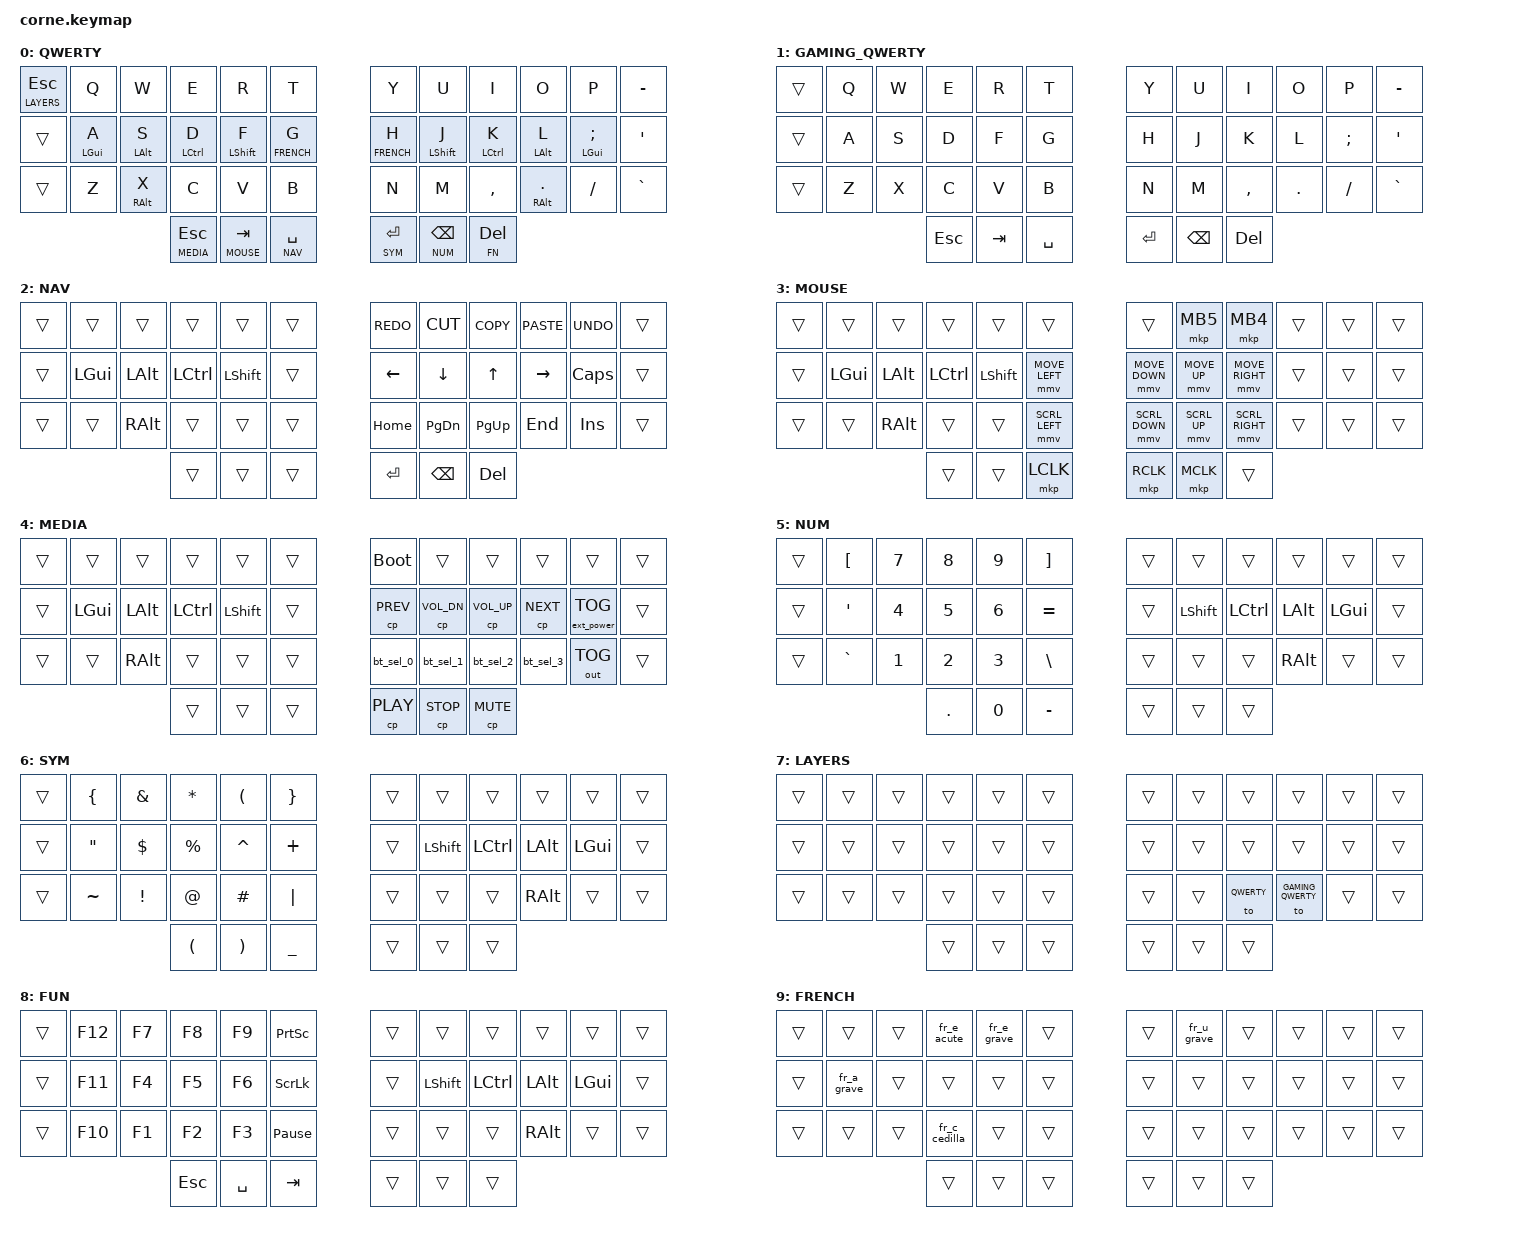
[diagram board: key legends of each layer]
#include <behaviors.dtsi>
#include <dt-bindings/zmk/keys.h>
#include <dt-bindings/zmk/bt.h>
#include <dt-bindings/zmk/ext_power.h>
#include <dt-bindings/zmk/outputs.h>
#include <dt-bindings/zmk/pointing.h>

#include "helpers/helper.h"

// Layer Definitions
#define QWERTY 0
#define GAMING_QWERTY 1
#define NAV 2
#define MOUSE 3
#define MEDIA 4
#define NUM 5
#define SYM 6
#define LAYERS 7
#define FN 8
#define FRENCH 9

// Behavior configuration

&mt {
    compatible = "zmk,behavior-hold-tap";
    tapping-term-ms = <220>;
    quick_tap_ms = <150>;
    flavor = "tap-preferred";
};

&lt {
    compatible = "zmk,behavior-hold-tap";
    tapping-term-ms = <220>;
    quick_tap_ms = <150>;
    flavor = "tap-preferred";
};

&sk {
    release-after-ms = <500>;
    quick-release;
};


// Keymap configuration
/ {
    behaviors {
        lls: layout_layers {
            compatible = "zmk,behavior-hold-tap";
            #binding-cells = <2>;
            tapping-term-ms = <500>;
            quick_tap_ms = <200>;
            bindings = <&mo>, <&kp>;
            flavor = "tap-preferred";
        };
    };

    keymap {
        compatible = "zmk,keymap";

        QWERTY {
// -----------------------------------------------------------------------------------------------------------------------------
// |  ESC   |   Q    |   W    |     E     |     R     |     T     | # |     Y     |     U    |    I    |    O   |   P    |  -  |
// |        | A/LGUI | S/LALT |  D/LCTRL  |  F/LSHFT  |     G     | # |     H     | J/LSHFT  | K/LCTRL | L/LALT | ;/LGUI |  '  |
// |        |   Z    | X/RALT |     C     |     V     |     B     | # |     N     |     M    |    ,    | ./RALT |   /    |  `  |
//                            | ESC/MEDIA | TAB/MOUSE | SPACE/NAV | # | ENTER/SYM | BSPC/NUM | DEL/FN  |

            bindings = <
&lls LAYERS ESC  &kp Q       &kp W       &kp E          &kp R          &kp T                &kp Y          &kp U         &kp I          &kp O         &kp P          &kp MINUS
&trans           &mt LGUI A  &mt LALT S  &mt LCTRL D    &mt LSHFT F    &lt FRENCH G         &lt FRENCH H   &mt LSHFT J   &mt LCTRL K    &mt LALT L    &mt LGUI SEMI  &kp SQT
&trans           &kp Z       &mt RALT X  &kp C          &kp V          &kp B                &kp N          &kp M         &kp CMMA       &mt RALT DOT  &kp FSLH       &kp GRAVE
                                         &lt MEDIA ESC  &lt MOUSE TAB  &lt NAV SPACE        &lt SYM ENTER  &lt NUM BSPC  &lt FN DEL
            >;
        };
 
        GAMING_QWERTY {
// ----------------------------------------------------------------------------------------------------
// |  ESC   |   Q   |   W   |   E   |   R   |   T   | # |   Y   |   U   |   I   |   O   |   P   |  -  |
// |        |   A   |   S   |   D   |   F   |   G   | # |   H   |   J   |   K   |   L   |   ;   |  '  |
// |        |   Z   |   X   |   C   |   V   |   B   | # |   N   |   M   |   ,   |   .   |   /   |  `  |
//                          |  ESC  |  TAB  | SPACE | # | ENTER | BSPC  |  DEL  |

            bindings = <
&trans   &kp Q  &kp W  &kp E    &kp R      &kp T          &kp Y      &kp U     &kp I     &kp O    &kp P     &kp MINUS
&trans   &kp A  &kp S  &kp D    &kp F      &kp G          &kp H      &kp J     &kp K     &kp L    &kp SEMI  &kp SQT
&trans   &kp Z  &kp X  &kp C    &kp V      &kp B          &kp N      &kp M     &kp CMMA  &kp DOT  &kp FSLH  &kp GRAVE
                          &kp ESC  &kp TAB    &kp SPACE      &kp ENTER  &kp BSPC  &kp DEL
            >;
        };

        NAV {
// -------------------------------------------------------------------------------------------
// |     |      |      |       |       |      | # | REDO  | CUT  | COPY | PASTE | UNDO  |     |
// |     | LGUI | LALT | LCTRL | LSHFT |      | # | LEFT  | DOWN | UP   | RIGHT | CAPS  |     |
// |     |      | RALT |       |       |      | # | HOME  | PGDN | PGUP | END   | INS   |     |
//                     |       |       | HELD | # | ENTER | BSPC | DEL  |

            bindings = <
&trans  &trans    &trans    &trans     &trans     &trans        &kp K_REDO    &kp K_CUT  &kp K_COPY  &kp K_PASTE  &kp K_UNDO    &trans
&trans  &kp LGUI  &kp LALT  &kp LCTRL  &kp LSHFT  &trans        &kp LEFT      &kp DOWN   &kp UP      &kp RIGHT    &kp CAPSLOCK  &trans
&trans  &trans    &kp RALT  &trans     &trans     &trans        &kp HOME      &kp PG_DN  &kp PG_UP   &kp END      &kp INS       &trans
                            &trans     &trans     &trans        &kp ENTER     &kp BSPC   &kp DEL
            >;
        };

// TODO
// Add mouse keys when implemented in ZMK

        MOUSE {
// ------------------------------------------------------------------------------------
// |     |      |      |       |       |      | # |           |           | MB5     | MB4        |     |     |
// |     | LGUI | LALT | LCTRL | LSHFT |      | # | MOVE_LEFT | MOVE_DOWN | MOVE_UP | MOVE_RIGHT |     |     |
// |     |      | RALT |       |       |      | # | SCRL_LEFT | SCRL_DOWN | SCRL_UP | SCRL_RIGHT |     |     |
//                     |       | HELD  |      | # | LCLK      | RCLK      | MCLK    |

            bindings = <
&trans  &trans    &trans    &trans     &trans       &trans          &trans           &mkp MB5      &mkp MB4         &trans  &trans  &trans
&trans  &kp LGUI  &kp LALT  &kp LCTRL  &kp LSHFT    &mmv MOVE_LEFT  &mmv MOVE_DOWN   &mmv MOVE_UP  &mmv MOVE_RIGHT  &trans  &trans  &trans
&trans  &trans    &kp RALT  &trans     &trans       &mmv SCRL_LEFT  &mmv SCRL_DOWN   &mmv SCRL_UP  &mmv SCRL_RIGHT  &trans  &trans  &trans
                            &trans     &trans       &mkp LCLK       &mkp RCLK        &mkp MCLK     &trans
            >;
        };

        MEDIA {
// -----------------------------------------------------------------------------------------------------
// |     |      |      |       |       |      | # | BOOTLOAD |        |        |        |         |     |
// |     | LGUI | LALT | LCTRL | LSHFT |      | # | PREV     | VOL_D  | VOL_U  | NEXT   | EP_TOG  |     |
// |     |      | RALT |       |       |      | # | BT_0*    | BT_1*  | BT_2*  | BT_3*  | OUT_TOG |     |
//                     | HELD  |       |      | # | PLAY     | STOP   | MUTE   |
//
// BT_X*: use shift to go to X number profil and clear it

            bindings = <
&trans  &trans    &trans    &trans     &trans     &trans        &bootloader   &trans         &trans        &trans        &trans             &trans
&trans  &kp LGUI  &kp LALT  &kp LCTRL  &kp LSHFT  &trans        &cp C_PREV    &cp C_VOL_DN   &cp C_VOL_UP  &cp C_NEXT    &ext_power EP_TOG  &trans
&trans  &trans    &kp RALT  &trans     &trans     &trans        &bt_sel_0     &bt_sel_1      &bt_sel_2     &bt_sel_3     &out OUT_TOG       &trans
                            &trans     &trans     &trans        &cp C_PLAY    &cp C_STOP     &cp C_MUTE
            >;
        };

        NUM {
// -----------------------------------------------------------------------------------
// |     |  [  |  7  |  8  |  9  |  ]  | # |     |       |       |      |      |     |
// |     |  '  |  4  |  5  |  6  |  =  | # |     | LSHFT | LCTRL | LALT | LGUI |     |
// |     |  `  |  1  |  2  |  3  |  \  | # |     |       |       | RALT |      |     |
//                   |  .  |  0  |  -  | # |     | HELD  |       |

            bindings = <
&trans  &kp LBKT   &kp N7  &kp N8   &kp N9  &kp RBKT         &trans  &trans     &trans     &trans    &trans    &trans
&trans  &kp SQT    &kp N4  &kp N5   &kp N6  &kp EQUAL        &trans  &kp LSHFT  &kp LCTRL  &kp LALT  &kp LGUI  &trans
&trans  &kp GRAVE  &kp N1  &kp N2   &kp N3  &kp BSLH         &trans  &trans     &trans     &kp RALT  &trans    &trans
                           &kp DOT  &kp N0  &kp MINUS        &trans  &trans     &trans
            >;
        };

        SYM {
// ------------------------------------------------------------------------------------
// |     |  {  |  &  |  *  |  (  |  }  | # |      |       |       |      |      |     |
// |     |  "  |  $  |  %  |  ^  |  +  | # |      | LSHFT | LCTRL | LALT | LGUI |     |
// |     |  ~  |  !  |  @  |  #  |  |  | # |      |       |       | RALT |      |     |
//                   |  (  |  )  |  _  | # | HELD |       |       |

            bindings = <
&trans  &kp LBRC   &kp AMPS  &kp ASTRK  &kp LPAR   &kp RBRC              &trans  &trans     &trans     &trans    &trans    &trans
&trans  &kp DQT    &kp DLLR  &kp PRCNT  &kp CARET  &kp PLUS              &trans  &kp LSHFT  &kp LCTRL  &kp LALT  &kp LGUI  &trans
&trans  &kp TILDE  &kp EXCL  &kp AT     &kp HASH   &kp PIPE              &trans  &trans     &trans     &kp RALT  &trans    &trans
                             &kp LPAR   &kp RPAR   &kp UNDERSCORE        &trans  &trans     &trans
            >;
        };

        LAYERS {
// ---------------------------------------------------------------------------------------------
// |      |     |     |     |     |      | # |      |     |         |                |     |     |
// |      |     |     |     |     |      | # |      |     |         |                |     |     |
// |      |     |     |     |     |      | # |      |     | QWERTY  | GAMING_QWERTY  |     |     |
//                    |     |     | HELD | # | HELD |     |         |

            bindings = <
&trans  &trans  &trans  &trans  &trans  &trans        &trans  &trans  &trans       &trans              &trans  &trans
&trans  &trans  &trans  &trans  &trans  &trans        &trans  &trans  &trans       &trans              &trans  &trans
&trans  &trans  &trans  &trans  &trans  &trans        &trans  &trans  &to QWERTY   &to GAMING_QWERTY   &trans  &trans
                        &trans  &trans  &trans        &trans  &trans  &trans
            >;
        };


        FUN {
// ------------------------------------------------------------------------------------------
// |     |  F12 |  F7  |  F8  |  F9   | PSCRN | # |     |       |       |      |      |     |
// |     |  F11 |  F4  |  F5  |  F6   | SLCK  | # |     | LSHFT | LCTRL | LALT | LGUI |     |
// |     |  F10 |  F1  |  F2  |  F3   | PAUSE | # |     |       |       | RALT |      |     |
//                     | ESC  | SPACE |  TAB  | # |     |       | HELD  |

            bindings = <
&trans  &kp F12  &kp F7  &kp F8   &kp F9     &kp PSCRN              &trans  &trans     &trans     &trans    &trans    &trans
&trans  &kp F11  &kp F4  &kp F5   &kp F6     &kp SLCK               &trans  &kp LSHFT  &kp LCTRL  &kp LALT  &kp LGUI  &trans
&trans  &kp F10  &kp F1  &kp F2   &kp F3     &kp PAUSE_BREAK        &trans  &trans     &trans     &kp RALT  &trans    &trans
                         &kp ESC  &kp SPACE  &kp TAB                &trans  &trans     &trans
            >;
        };

        FRENCH {
// ------------------------------------------------------------------------------------
// |     |      |  é   |       |       |      | # |      |  ù  |     |     |     |     |
// |  à  |      |      |       |       | HELD | # | HELD |     |     |     |     |     |
// |     |      |      |       |       |      | # |      |     |     |     |     |     |
//                     |       |       |      | # |      |     |     |

            bindings = <
&trans       &trans    &trans          &fr_e_acute   &fr_e_grave  &trans        &trans  &fr_u_grave  &trans  &trans  &trans  &trans
&trans  &fr_a_grave    &trans          &trans        &trans       &trans        &trans  &trans       &trans  &trans  &trans  &trans
&trans       &trans    &trans          &fr_c_cedilla &trans       &trans        &trans  &trans       &trans  &trans  &trans  &trans
                                       &trans        &trans       &trans        &trans  &trans       &trans
            >;
        };

    };
};
